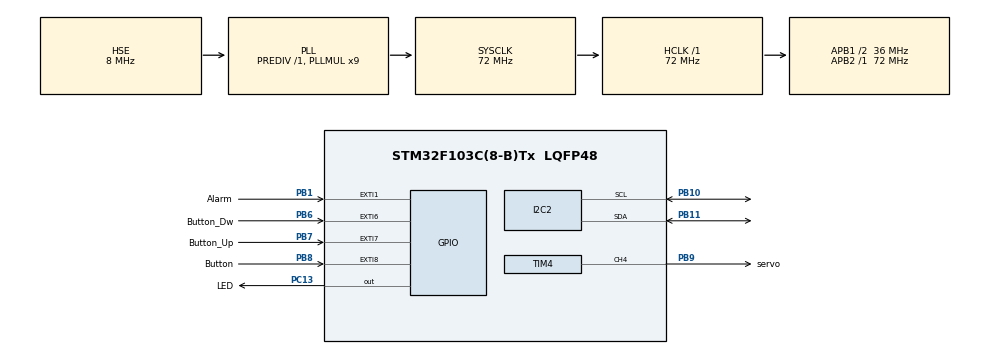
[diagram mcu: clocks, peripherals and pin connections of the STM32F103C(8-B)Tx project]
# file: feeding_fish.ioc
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Mcu.Family=STM32F1
Mcu.Name=STM32F103C(8-B)Tx
Mcu.Package=LQFP48
NVIC.EXTI1_IRQn=true\:0\:0\:false\:false\:true\:true\:true\:true
NVIC.EXTI9_5_IRQn=true\:0\:0\:false\:false\:true\:true\:true\:true
NVIC.PriorityGroup=NVIC_PRIORITYGROUP_4
PA0-WKUP.Mode=SYS_WakeUp0
PA0-WKUP.Signal=SYS_WKUP
PA13.Mode=Serial_Wire
PA13.Signal=SYS_JTMS-SWDIO
PA14.Mode=Serial_Wire
PA14.Signal=SYS_JTCK-SWCLK
PB1.GPIO_Label=Alarm
PB1.GPIO_ModeDefaultEXTI=GPIO_MODE_IT_FALLING
PB1.GPIO_PuPd=GPIO_PULLUP
PB1.Signal=GPXTI1
PB10.Mode=I2C
PB10.Signal=I2C2_SCL
PB11.Mode=I2C
PB11.Signal=I2C2_SDA
PB6.GPIO_Label=Button_Dw
PB6.GPIO_ModeDefaultEXTI=GPIO_MODE_IT_FALLING
PB6.GPIO_PuPd=GPIO_PULLUP
PB6.Signal=GPXTI6
PB7.GPIO_Label=Button_Up
PB7.GPIO_ModeDefaultEXTI=GPIO_MODE_IT_FALLING
PB7.GPIO_PuPd=GPIO_PULLUP
PB7.Signal=GPXTI7
PB8.GPIO_Label=Button
PB8.GPIO_ModeDefaultEXTI=GPIO_MODE_IT_FALLING
PB8.GPIO_PuPd=GPIO_PULLUP
PB8.Signal=GPXTI8
PB9.GPIO_Label=servo
PB9.Signal=S_TIM4_CH4
PC13-TAMPER-RTC.GPIO_Label=LED
PC13-TAMPER-RTC.Signal=GPIO_Output
PD0-OSC_IN.GPIO_Label=RCC_OSC_IN
PD0-OSC_IN.Mode=HSE-External-Oscillator
PD0-OSC_IN.Signal=RCC_OSC_IN
PD1-OSC_OUT.Mode=HSE-External-Oscillator
PD1-OSC_OUT.Signal=RCC_OSC_OUT
ProjectManager.HeapSize=0x200
ProjectManager.StackSize=0x400
ProjectManager.TargetToolchain=STM32CubeIDE
RCC.AHBFreq_Value=72000000
RCC.APB1CLKDivider=RCC_HCLK_DIV2
RCC.APB1Freq_Value=36000000
RCC.APB1TimFreq_Value=72000000
RCC.APB2Freq_Value=72000000
RCC.APB2TimFreq_Value=72000000
RCC.HCLKFreq_Value=72000000
RCC.PLLMUL=RCC_PLL_MUL9
RCC.PLLSourceVirtual=RCC_PLLSOURCE_HSE
RCC.SYSCLKFreq_VALUE=72000000
RCC.SYSCLKSource=RCC_SYSCLKSOURCE_PLLCLK
RCC.USBFreq_Value=72000000
SH.S_TIM4_CH4.0=TIM4_CH4,PWM Generation4 CH4
TIM4.Channel-PWM\ Generation4\ CH4=TIM_CHANNEL_4
TIM4.Period=10000-1
TIM4.Prescaler=144-1
VP_TIM4_VS_ClockSourceINT.Mode=Internal
board=custom

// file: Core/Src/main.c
/* USER CODE BEGIN Header */
/**
  ******************************************************************************
  * @file           : main.c
  * @brief          : Main program body
  ******************************************************************************
  * @attention
  *
  * Copyright (c) 2025 STMicroelectronics.
  * All rights reserved.
  *
  * This software is licensed under terms that can be found in the LICENSE file
  * in the root directory of this software component.
  * If no LICENSE file comes with this software, it is provided AS-IS.
  *
  ******************************************************************************
  */
/* USER CODE END Header */
#include "main.h"

/* USER CODE BEGIN Includes */
#include "feeding.h"
#include "DS3231.h"
/* USER CODE END Includes */

I2C_HandleTypeDef hi2c2;

TIM_HandleTypeDef htim4;

/* USER CODE BEGIN PV */
/* Feeding parameters */
struct feeding_t feed = {
		.hi2c = &hi2c2,
		.htim = &htim4,
		.channel = TIM_CHANNEL_4,
		.alarm_time = {
				.seconds = 0,
				.minutes = 0,
				.hour = 4,
		},
};

DS3231_Time_t timenow;

/* USER CODE END PV */

void SystemClock_Config(void);
static void MX_GPIO_Init(void);
static void MX_TIM4_Init(void);
static void MX_I2C2_Init(void);

/* USER CODE BEGIN 0 */
void HAL_GPIO_EXTI_Callback(uint16_t GPIO_Pin)
{
	feeding_ISR(GPIO_Pin);
}

void HAL_SYSTICK_Callback(void)
{
    // Ví dụ: quay động cơ trong 1s
    static uint32_t counter = 0;
    if(counter >= 1000) {  // 1000 * 1ms = 1s
    	feed.IsFeed = 3;
        counter = 0;
    }
    if (feed.IsFeed == 2) {
        counter++;
    }
}
/* USER CODE END 0 */

int main(void)
{

  /* MCU Configuration--------------------------------------------------------*/

  /* Reset of all peripherals, Initializes the Flash interface and the Systick. */
  HAL_Init();

  /* Configure the system clock */
  SystemClock_Config();

  /* Initialize all configured peripherals */
  MX_GPIO_Init();
  MX_TIM4_Init();
  MX_I2C2_Init();
  /* USER CODE BEGIN 2 */
  feeding_Init(&feed);

  /* USER CODE END 2 */

  /* Infinite loop */
  /* USER CODE BEGIN WHILE */
  while (1)
  {
	feeding_Handler();
	DS3231_GetTime(&timenow);
    /* USER CODE END WHILE */

  }
}

void SystemClock_Config(void)
{
  RCC_OscInitTypeDef RCC_OscInitStruct = {0};
  RCC_ClkInitTypeDef RCC_ClkInitStruct = {0};

  /** Initializes the RCC Oscillators according to the specified parameters
  * in the RCC_OscInitTypeDef structure.
  */
  RCC_OscInitStruct.OscillatorType = RCC_OSCILLATORTYPE_HSE;
  RCC_OscInitStruct.HSEState = RCC_HSE_ON;
  RCC_OscInitStruct.HSEPredivValue = RCC_HSE_PREDIV_DIV1;
  RCC_OscInitStruct.HSIState = RCC_HSI_ON;
  RCC_OscInitStruct.PLL.PLLState = RCC_PLL_ON;
  RCC_OscInitStruct.PLL.PLLSource = RCC_PLLSOURCE_HSE;
  RCC_OscInitStruct.PLL.PLLMUL = RCC_PLL_MUL9;
  if (HAL_RCC_OscConfig(&RCC_OscInitStruct) != HAL_OK)
  {
    Error_Handler();
  }

  /** Initializes the CPU, AHB and APB buses clocks
  */
  RCC_ClkInitStruct.ClockType = RCC_CLOCKTYPE_HCLK|RCC_CLOCKTYPE_SYSCLK
                              |RCC_CLOCKTYPE_PCLK1|RCC_CLOCKTYPE_PCLK2;
  RCC_ClkInitStruct.SYSCLKSource = RCC_SYSCLKSOURCE_PLLCLK;
  RCC_ClkInitStruct.AHBCLKDivider = RCC_SYSCLK_DIV1;
  RCC_ClkInitStruct.APB1CLKDivider = RCC_HCLK_DIV2;
  RCC_ClkInitStruct.APB2CLKDivider = RCC_HCLK_DIV1;

  if (HAL_RCC_ClockConfig(&RCC_ClkInitStruct, FLASH_LATENCY_2) != HAL_OK)
  {
    Error_Handler();
  }
}

static void MX_I2C2_Init(void)
{

  hi2c2.Instance = I2C2;
  hi2c2.Init.ClockSpeed = 100000;
  hi2c2.Init.DutyCycle = I2C_DUTYCYCLE_2;
  hi2c2.Init.OwnAddress1 = 0;
  hi2c2.Init.AddressingMode = I2C_ADDRESSINGMODE_7BIT;
  hi2c2.Init.DualAddressMode = I2C_DUALADDRESS_DISABLE;
  hi2c2.Init.OwnAddress2 = 0;
  hi2c2.Init.GeneralCallMode = I2C_GENERALCALL_DISABLE;
  hi2c2.Init.NoStretchMode = I2C_NOSTRETCH_DISABLE;
  if (HAL_I2C_Init(&hi2c2) != HAL_OK)
  {
    Error_Handler();
  }

}

static void MX_TIM4_Init(void)
{

  TIM_ClockConfigTypeDef sClockSourceConfig = {0};
  TIM_MasterConfigTypeDef sMasterConfig = {0};
  TIM_OC_InitTypeDef sConfigOC = {0};

  htim4.Instance = TIM4;
  htim4.Init.Prescaler = 144-1;
  htim4.Init.CounterMode = TIM_COUNTERMODE_UP;
  htim4.Init.Period = 10000-1;
  htim4.Init.ClockDivision = TIM_CLOCKDIVISION_DIV1;
  htim4.Init.AutoReloadPreload = TIM_AUTORELOAD_PRELOAD_DISABLE;
  if (HAL_TIM_Base_Init(&htim4) != HAL_OK)
  {
    Error_Handler();
  }
  sClockSourceConfig.ClockSource = TIM_CLOCKSOURCE_INTERNAL;
  if (HAL_TIM_ConfigClockSource(&htim4, &sClockSourceConfig) != HAL_OK)
  {
    Error_Handler();
  }
  if (HAL_TIM_PWM_Init(&htim4) != HAL_OK)
  {
    Error_Handler();
  }
  sMasterConfig.MasterOutputTrigger = TIM_TRGO_RESET;
  sMasterConfig.MasterSlaveMode = TIM_MASTERSLAVEMODE_DISABLE;
  if (HAL_TIMEx_MasterConfigSynchronization(&htim4, &sMasterConfig) != HAL_OK)
  {
    Error_Handler();
  }
  sConfigOC.OCMode = TIM_OCMODE_PWM1;
  sConfigOC.Pulse = 0;
  sConfigOC.OCPolarity = TIM_OCPOLARITY_HIGH;
  sConfigOC.OCFastMode = TIM_OCFAST_DISABLE;
  if (HAL_TIM_PWM_ConfigChannel(&htim4, &sConfigOC, TIM_CHANNEL_4) != HAL_OK)
  {
    Error_Handler();
  }
  HAL_TIM_MspPostInit(&htim4);

}

static void MX_GPIO_Init(void)
{
  GPIO_InitTypeDef GPIO_InitStruct = {0};

  /* GPIO Ports Clock Enable */
  __HAL_RCC_GPIOC_CLK_ENABLE();
  __HAL_RCC_GPIOD_CLK_ENABLE();
  __HAL_RCC_GPIOB_CLK_ENABLE();
  __HAL_RCC_GPIOA_CLK_ENABLE();

  /*Configure GPIO pin Output Level */
  HAL_GPIO_WritePin(LED_GPIO_Port, LED_Pin, GPIO_PIN_RESET);

  /*Configure GPIO pin : LED_Pin */
  GPIO_InitStruct.Pin = LED_Pin;
  GPIO_InitStruct.Mode = GPIO_MODE_OUTPUT_PP;
  GPIO_InitStruct.Pull = GPIO_NOPULL;
  GPIO_InitStruct.Speed = GPIO_SPEED_FREQ_LOW;
  HAL_GPIO_Init(LED_GPIO_Port, &GPIO_InitStruct);

  /*Configure GPIO pins : Alarm_Pin Button_Pin */
  GPIO_InitStruct.Pin = Alarm_Pin|Button_Pin;
  GPIO_InitStruct.Mode = GPIO_MODE_IT_FALLING;
  GPIO_InitStruct.Pull = GPIO_PULLUP;
  HAL_GPIO_Init(GPIOB, &GPIO_InitStruct);

  /*Configure GPIO pin : Button_Dw_Pin */
  GPIO_InitStruct.Pin = Button_Dw_Pin;
  GPIO_InitStruct.Mode = GPIO_MODE_IT_RISING_FALLING;
  GPIO_InitStruct.Pull = GPIO_NOPULL;
  HAL_GPIO_Init(Button_Dw_GPIO_Port, &GPIO_InitStruct);

  /*Configure GPIO pin : Button_Up_Pin */
  GPIO_InitStruct.Pin = Button_Up_Pin;
  GPIO_InitStruct.Mode = GPIO_MODE_IT_RISING_FALLING;
  GPIO_InitStruct.Pull = GPIO_PULLUP;
  HAL_GPIO_Init(Button_Up_GPIO_Port, &GPIO_InitStruct);

  /* EXTI interrupt init*/
  HAL_NVIC_SetPriority(EXTI1_IRQn, 0, 0);
  HAL_NVIC_EnableIRQ(EXTI1_IRQn);

  HAL_NVIC_SetPriority(EXTI9_5_IRQn, 0, 0);
  HAL_NVIC_EnableIRQ(EXTI9_5_IRQn);

}

void Error_Handler(void)
{
  __disable_irq();
  while (1)
  {
  }
}
